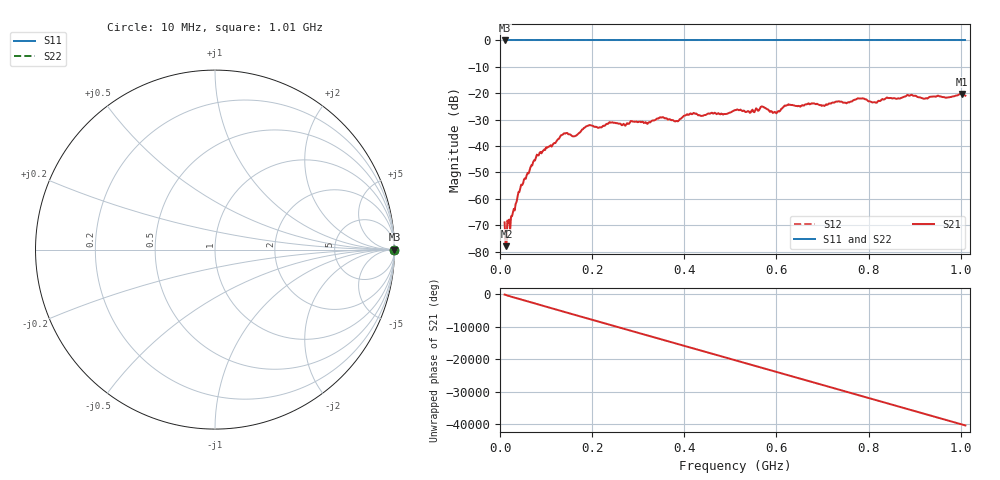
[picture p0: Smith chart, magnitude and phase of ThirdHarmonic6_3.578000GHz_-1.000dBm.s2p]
! 8/17/2025 11:52:35 AM
! C:\ANRITSUVNA\TEMP\TEMP.S2P
! CHANNEL.1
! TR.MEASUREMENT
! RAW.DATA
! RF.CORRECTION.OFF
! AVERAGING.OFF
! IF.BANDWIDTH: 5KHZ
! SWEEPTYPE:  FREQ.SWEEP(Linear)
! Reference Plane Port Info
! PORT:  PORT1  PORT2
! DISTANCE:  0  m  0  m
! TIME:  0  s  0  s
! PHASE.OFFSET:  0  deg.  0  deg.
! LOSS:  0  dB  0  dB
! REF.LOSS:  0  dB  0  dB
! REF.FREQ:  0  Hz  0  Hz
! Power Info
! POWER:  -20  dBm  -20  dBm
! EFF.POWER:  -20  dBm  -20  dBm
! SOURCE.ATTEN:  0  dB  0  dB
! TEST.ATTEN:  0  dB  0  dB
# GHZ S RI R 50.0
! FREQ.GHZ  S11RE  S11IM  S21RE  S21IM  S12RE  S12IM  S22RE  S22IM
!; PortSelection: Port_12
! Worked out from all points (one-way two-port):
!   501 points, 10 MHz to 1.01 GHz, reference 50 ohm
!   highest |S21| = -20.22 dB at 1.002 GHz (marker M1); lowest = -77.9 dB at 14 MHz (marker M2)
!   lowest |S11| = 0.0 dB at 10 MHz (marker M3)
!   |S11| at or under -10 dB: nowhere
!   |S22| runs from 0.0 to 0.0 dB; largest |S21 - S12| = 1.1
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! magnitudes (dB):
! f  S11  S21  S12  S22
! 10 MHz  0.0  -68.9  0.0  0.0
! 14 MHz  0.0  -77.9  0.0  0.0
! 44 MHz  0.0  -56.0  0.0  0.0
! 82 MHz  0.0  -43.5  0.0  0.0
! 136 MHz  0.0  -35.7  0.0  0.0
! 162 MHz  0.0  -36.3  0.0  0.0
! 178 MHz  0.0  -33.8  0.0  0.0
! 194 MHz  0.0  -32.1  0.0  0.0
! 322 MHz  0.0  -31.1  0.0  0.0
! 344 MHz  0.0  -29.6  0.0  0.0
! 382 MHz  0.0  -30.5  0.0  0.0
! 416 MHz  0.0  -27.9  0.0  0.0
! 510 MHz  0.0  -26.4  0.0  0.0
! 570 MHz  0.0  -25.1  0.0  0.0
! 596 MHz  0.0  -27.1  0.0  0.0
! 622 MHz  0.0  -24.6  0.0  0.0
! 678 MHz  0.0  -23.9  0.0  0.0
! 782 MHz  0.0  -22.0  0.0  0.0
! 814 MHz  0.0  -23.4  0.0  0.0
! 844 MHz  0.0  -21.8  0.0  0.0
! 1.002 GHz  0.0  -20.2  0.0  0.0
! 1.01 GHz  0.0  -20.9  0.0  0.0
